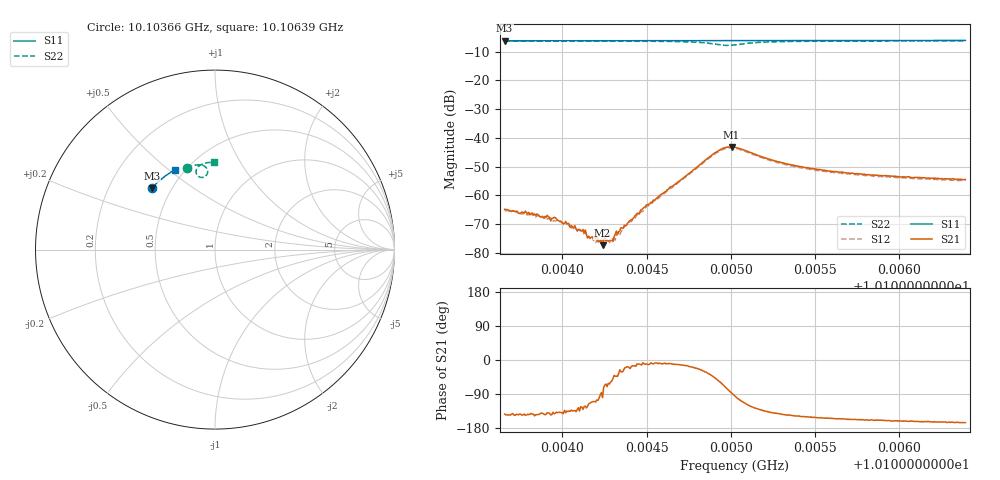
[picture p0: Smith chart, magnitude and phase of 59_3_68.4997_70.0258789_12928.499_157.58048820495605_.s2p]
#  HZ  S  RI  R  50.00
! Rohde & Schwarz Vector Network Analyzer
! Rohde-Schwarz,ZNB20-2Port,1311601062101988,3.16
! Created: UTC 3/20/2024, 4:51:10 PM
! freq[Hz]  re:S11  im:S11  re:S21  im:S21  re:S12  im:S12  re:S22  im:S22
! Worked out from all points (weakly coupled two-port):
!   401 points, 10.10366 GHz to 10.10639 GHz, reference 50 ohm
!   highest |S21| = -43.12 dB at 10.105 GHz (marker M1); lowest = -77.4 dB at 10.10424 GHz (marker M2)
!   lowest |S11| = -6.2 dB at 10.10366 GHz (marker M3), VSWR 2.92, Z = 19.5 + j17.5 ohm
!   |S11| at or under -10 dB: nowhere
!   |S22| runs from -7.8 to -6.2 dB; largest |S21 - S12| = 0.00071
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1.0103658e10  -0.3525 0.3407  -0.000454 -0.000349  -0.000416 -0.000349  -0.1574 0.4564
1.0103849e10  -0.3447 0.3494  -0.000385 -0.000278  -0.00033 -0.000305  -0.1447 0.461
1.0103958e10  -0.3401 0.3543  -0.000318 -0.000263  -0.000245 -0.000256  -0.1372 0.4634
1.0104034e10  -0.3371 0.3577  -0.000236 -0.000228  -0.00021 -0.000243  -0.132 0.4649
1.0104116e10  -0.3335 0.3611  -0.000135 -0.000198  -0.000126 -0.0002  -0.1261 0.4667
1.0104157e10  -0.3317 0.363  -8.4e-05 -0.000172  -9.2e-05 -0.000175  -0.1227 0.4675
1.0104184e10  -0.3305 0.3642  -6.2e-05 -0.000174  -2.1e-05 -0.000166  -0.1207 0.468
1.0104225e10  -0.3287 0.3659  -5.89e-06 -0.000166  7.52e-06 -0.000178  -0.1176 0.4687
1.0104239e10  -0.328 0.3665  -2.16e-05 -0.000134  5.81e-05 -0.000175  -0.1165 0.469
1.0104286e10  -0.326 0.3686  8.83e-05 -0.000143  0.000104 -0.000123  -0.1127 0.47
1.01043e10  -0.3255 0.3691  0.000102 -0.00012  0.000108 -0.000141  -0.1114 0.4701
1.0104382e10  -0.3218 0.3724  0.000293 -9.81e-05  0.000293 -8.97e-05  -0.1046 0.4713
1.0104478e10  -0.3175 0.3766  0.000586 -7.78e-05  0.000523 -6.69e-05  -0.0955 0.4724
1.0104573e10  -0.3132 0.3804  0.000965 -0.000141  0.000904 -4.94e-05  -0.0852 0.4727
1.0104908e10  -0.2975 0.3934  0.00372 -0.00414  0.00391 -0.00364  -0.0418 0.4262
1.0104963e10  -0.295 0.3953  0.00235 -0.00631  0.0028 -0.00584  -0.0586 0.405
1.0105004e10  -0.2933 0.3968  0.000366 -0.00697  0.000911 -0.00666  -0.0802 0.4023
1.0105025e10  -0.2923 0.3975  -0.000626 -0.00687  -2.57e-05 -0.00665  -0.0898 0.4063
1.0105243e10  -0.2822 0.4061  -0.00311 -0.00273  -0.00272 -0.00286  -0.095 0.4606
1.0105483e10  -0.2705 0.4147  -0.00257 -0.00142  -0.00231 -0.00156  -0.0709 0.4763
1.010594e10  -0.2473 0.4302  -0.00204 -0.000751  -0.00188 -0.000891  -0.0344 0.4853
1.0106392e10  -0.2237 0.444  -0.00184 -0.000484  -0.00172 -0.000634  -0.00286 0.4886
